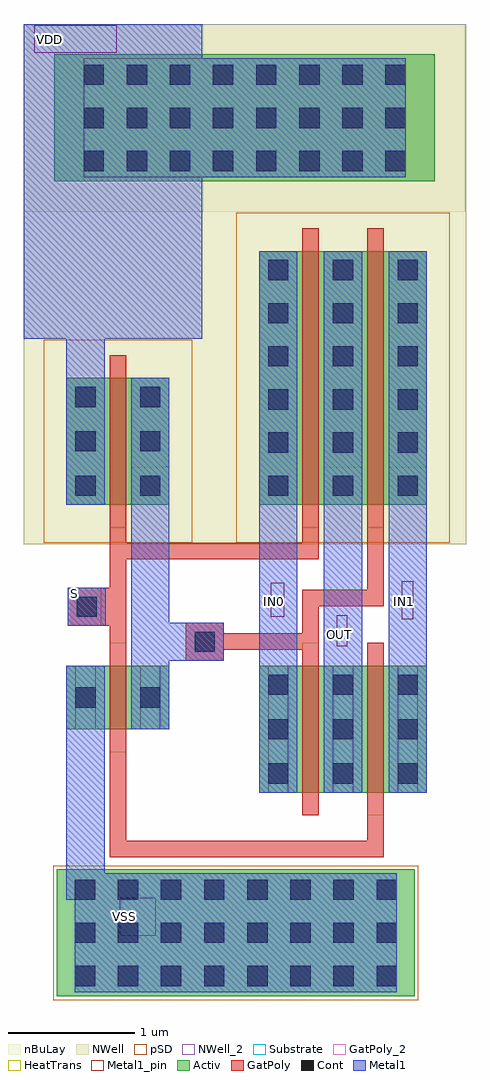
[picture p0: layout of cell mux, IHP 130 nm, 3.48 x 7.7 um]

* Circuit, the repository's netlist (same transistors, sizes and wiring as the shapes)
** sch_path: /home/designer/shared/designs/SSDOR_1.2V_v3/components/mux/mux.sch
.subckt mux VDD IN0 S OUT IN1 VSS
*.PININFO S:I IN0:I IN1:I OUT:O VDD:B VSS:B
MM1 IN0 net1 OUT VSS sg13_lv_nmos w=1u l=0.13u ng=1 m=1
MM2 IN0 S OUT well sg13_lv_pmos w=2u l=0.13u ng=1 m=1
MM3 IN1 S OUT VSS sg13_lv_nmos w=1u l=0.13u ng=1 m=1
MM4 IN1 net1 OUT well sg13_lv_pmos w=2u l=0.13u ng=1 m=1
RR1 VDD well ntap1 A=3e-12 P=8e-06
MM5 net1 S VSS VSS sg13_lv_nmos w=0.5u l=0.13u ng=1 m=1
MM6 net1 S VDD well sg13_lv_pmos w=1u l=0.13u ng=1 m=1
.ends

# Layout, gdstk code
import gdstk
lib = gdstk.Library(unit=1e-6, precision=5e-09)
def R(c, l, rs):  # rectangles x0, y0, x1, y1
    for r in rs: c.add(gdstk.rectangle(r[:2], r[2:], *l))
def A(c, l, x, y, w, h, nx, ny, dx, dy):  # array of equal rectangles
    R(c, l, [(x+i*dx, y+j*dy, x+i*dx+w, y+j*dy+h) for i in range(nx) for j in range(ny)])
Activ = (1, 0)
GatPoly = (5, 0)
GatPoly_2 = (5, 2)
Cont = (6, 0)
Metal1 = (8, 0)
Metal1_pin = (8, 2)
pSD = (14, 0)
NWell = (31, 0)
NWell_2 = (31, 2)
nBuLay = (32, 0)
Substrate = (40, 0)
HeatTrans = (51, 0)

pmos_1 = lib.new_cell('pmos$1')
R(pmos_1, Activ, [(0,0,0.3,0.3), (0,0,0.81,2), (0.51,0,0.81,0.3)])
R(pmos_1, GatPoly, [(0.34,-0.18,0.47,2.18), (0.34,-0.18,0.47,2.18)])
A(pmos_1, Cont, 0.07, 0.07, 0.16, 0.16, 1, 6, 0, 0.34)
A(pmos_1, Cont, 0.58, 0.07, 0.16, 0.16, 1, 6, 0, 0.34)
R(pmos_1, Metal1, [(0.07,0,0.23,2), (0.07,0,0.23,2), (0.58,0,0.74,2), (0.58,0,0.74,2)])
R(pmos_1, pSD, [(-0.18,-0.3,0.99,2.3)])
R(pmos_1, NWell, [(-0.31,-0.31,1.12,2.31)])
R(pmos_1, Substrate, [(0.51,0,0.81,0.3)])
R(pmos_1, HeatTrans, [(0.34,-0.18,0.47,2.18)])
pmos_1.add(gdstk.Label('pmos', (0.405,1), layer=63, texttype=0))
pmos_1.add(gdstk.Label('pmos', (0.405,1), layer=51, texttype=0))

nmos_1 = lib.new_cell('nmos$1')
R(nmos_1, Activ, [(0,0,0.3,0.3), (0,0,0.81,1), (0.51,0,0.81,0.3)])
R(nmos_1, GatPoly, [(0.34,-0.18,0.47,1.18)])
R(nmos_1, GatPoly_2, [(0.34,-0.18,0.47,1.18)])
A(nmos_1, Cont, 0.07, 0.07, 0.16, 0.16, 1, 3, 0, 0.35)
A(nmos_1, Cont, 0.58, 0.07, 0.16, 0.16, 1, 3, 0, 0.35)
R(nmos_1, Metal1, [(0.07,0,0.23,1), (0.58,0,0.74,1)])
R(nmos_1, Metal1_pin, [(0.07,0,0.23,1), (0.58,0,0.74,1)])
R(nmos_1, HeatTrans, [(0.34,-0.18,0.47,1.18)])
nmos_1.add(gdstk.Label('nmos', (0.405,0.5), layer=63, texttype=0))
nmos_1.add(gdstk.Label('nmos', (0.405,0.5), layer=51, texttype=0))

pmos_2 = lib.new_cell('pmos$2')
R(pmos_2, Activ, [(0,0,0.3,0.3), (0,0,0.81,1), (0.51,0,0.81,0.3)])
R(pmos_2, GatPoly, [(0.34,-0.18,0.47,1.18), (0.34,-0.18,0.47,1.18)])
A(pmos_2, Cont, 0.07, 0.07, 0.16, 0.16, 1, 3, 0, 0.35)
A(pmos_2, Cont, 0.58, 0.07, 0.16, 0.16, 1, 3, 0, 0.35)
R(pmos_2, Metal1, [(0.07,0,0.23,1), (0.07,0,0.23,1), (0.58,0,0.74,1), (0.58,0,0.74,1)])
R(pmos_2, pSD, [(-0.18,-0.3,0.99,1.3)])
R(pmos_2, NWell, [(-0.31,-0.31,1.12,1.31)])
R(pmos_2, Substrate, [(0.51,0,0.81,0.3)])
R(pmos_2, HeatTrans, [(0.34,-0.18,0.47,1.18)])
pmos_2.add(gdstk.Label('pmos', (0.405,0.5), layer=63, texttype=0))
pmos_2.add(gdstk.Label('pmos', (0.405,0.5), layer=51, texttype=0))

nmos_2 = lib.new_cell('nmos$2')
R(nmos_2, Activ, [(0,0,0.3,0.3), (0,0,0.81,0.5), (0.51,0,0.81,0.3)])
R(nmos_2, GatPoly, [(0.34,-0.18,0.47,0.68)])
R(nmos_2, GatPoly_2, [(0.34,-0.18,0.47,0.68)])
R(nmos_2, Cont, [(0.07,0.17,0.23,0.33), (0.58,0.17,0.74,0.33)])
R(nmos_2, Metal1, [(0.07,0,0.23,0.5), (0.58,0,0.74,0.5)])
R(nmos_2, Metal1_pin, [(0.07,0,0.23,0.5), (0.58,0,0.74,0.5)])
R(nmos_2, HeatTrans, [(0.34,-0.18,0.47,0.68)])
nmos_2.add(gdstk.Label('nmos', (0.405,0.25), layer=63, texttype=0))
nmos_2.add(gdstk.Label('nmos', (0.405,0.25), layer=51, texttype=0))

ntap1_1 = lib.new_cell('ntap1$1')
R(ntap1_1, Activ, [(0,0,3,1)])
A(ntap1_1, Cont, 0.23, 0.08, 0.16, 0.16, 8, 3, 0.34, 0.34)
R(ntap1_1, Metal1, [(0.23,0.03,2.77,0.97)])
R(ntap1_1, Metal1_pin, [(0.23,0.03,2.77,0.97), (0.23,0.08,2.77,0.92)])
R(ntap1_1, NWell, [(-0.24,-0.24,3.24,1.24), (0,0,3,1)])
R(ntap1_1, NWell_2, [(0,0,3,1)])
R(ntap1_1, nBuLay, [(-0.24,-0.24,3.24,1.24)])
ntap1_1.add(gdstk.Label('well', (1.5,0.01), layer=31, texttype=0))
ntap1_1.add(gdstk.Label('well', (1.5,0.01), layer=63, texttype=0))

mux = lib.new_cell('mux')
R(mux, Activ, [(-2.08,-3.66,0.74,-2.66)])
R(mux, GatPoly, [(-1.665,-2.565,-1.535,1.395), (-1.665,-2.565,0.495,-2.435), (0.365,-2.565,0.495,-0.875), (-0.145,-2.235,-0.015,-0.455), (-1.065,-1.015,-0.765,-0.715), (-0.835,-0.93,-0.015,-0.8), (-1.995,-0.74,-1.535,-0.44), (-0.145,-0.585,0.495,-0.455), (0.365,-0.585,0.495,2.395), (-1.665,-0.215,-0.015,-0.085), (-0.145,-0.215,-0.015,2.395)])
A(mux, Cont, -1.94, -3.58, 0.16, 0.16, 8, 3, 0.34, 0.34)
R(mux, Cont, [(-0.995,-0.945,-0.835,-0.785), (-1.925,-0.67,-1.765,-0.51)])
A(mux, Metal1, -0.485, -2.055, 0.3, 4.27, 3, 1, 0.51, 0)
R(mux, Metal1, [(-1.94,-3.63,0.6,-2.69), (-2.005,-2.9,-1.705,-1.055), (-1.495,-1.555,-1.195,1.215), (-1.495,-1.015,-0.765,-0.715), (-1.995,-0.74,-1.695,-0.44), (-2.005,0.215,-1.705,2.525), (-2.34,1.525,-0.935,4.005)])
R(mux, Metal1_pin, [(-1.585,-3.185,-1.3,-2.885), (0.125,-0.9,0.21,-0.655), (-1.995,-0.74,-1.73,-0.44), (0.64,-0.69,0.73,-0.39), (-0.395,-0.67,-0.29,-0.4), (-2.26,3.78,-1.61,3.995)])
R(mux, pSD, [(-2.11,-3.69,0.77,-2.63)])
R(mux, NWell, [(-2.34,-0.095,1.145,4.005)])
mux.add(gdstk.Reference(pmos_1, (-0.485,0.215)))
mux.add(gdstk.Reference(pmos_1, (0.025,0.215)))
mux.add(gdstk.Reference(nmos_1, (-0.485,-2.055)))
mux.add(gdstk.Reference(nmos_1, (0.025,-2.055)))
mux.add(gdstk.Reference(pmos_2, (-2.005,0.215)))
mux.add(gdstk.Reference(nmos_2, (-2.005,-1.555)))
mux.add(gdstk.Reference(ntap1_1, (-2.1,2.765)))
mux.add(gdstk.Label('VSS', (-1.55,-3.035), layer=8, texttype=25))
mux.add(gdstk.Label('IN1', (0.66,-0.55), layer=8, texttype=25))
mux.add(gdstk.Label('IN0', (-0.365,-0.55), layer=8, texttype=25))
mux.add(gdstk.Label('VDD', (-2.135,3.88), layer=8, texttype=25))
mux.add(gdstk.Label('S', (-1.945,-0.485), layer=8, texttype=25))
mux.add(gdstk.Label('OUT', (0.15,-0.805), layer=8, texttype=25))

lib.write_gds('mux.gds')
